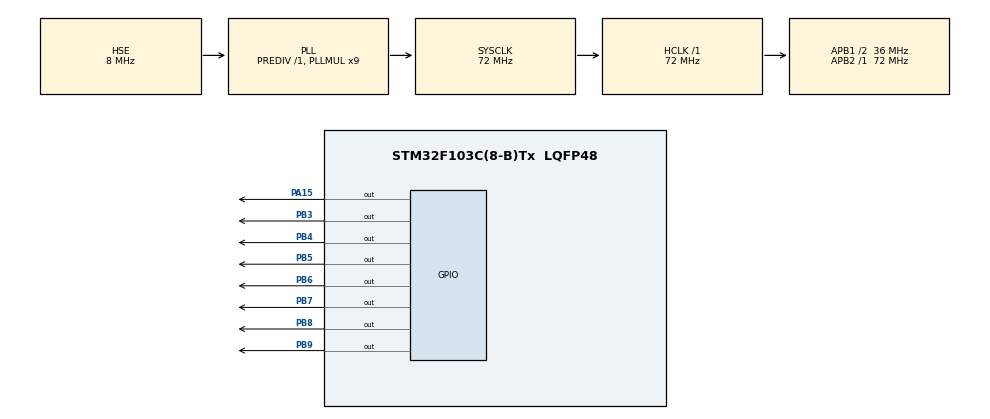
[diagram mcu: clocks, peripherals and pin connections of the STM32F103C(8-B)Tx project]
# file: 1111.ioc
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Mcu.Family=STM32F1
Mcu.Name=STM32F103C(8-B)Tx
Mcu.Package=LQFP48
NVIC.PriorityGroup=NVIC_PRIORITYGROUP_4
PA13.Mode=Serial_Wire
PA13.Signal=SYS_JTMS-SWDIO
PA14.Mode=Serial_Wire
PA14.Signal=SYS_JTCK-SWCLK
PA15.PinState=GPIO_PIN_SET
PA15.Signal=GPIO_Output
PB3.PinState=GPIO_PIN_SET
PB3.Signal=GPIO_Output
PB4.PinState=GPIO_PIN_SET
PB4.Signal=GPIO_Output
PB5.PinState=GPIO_PIN_SET
PB5.Signal=GPIO_Output
PB6.PinState=GPIO_PIN_SET
PB6.Signal=GPIO_Output
PB7.PinState=GPIO_PIN_SET
PB7.Signal=GPIO_Output
PB8.PinState=GPIO_PIN_SET
PB8.Signal=GPIO_Output
PB9.PinState=GPIO_PIN_SET
PB9.Signal=GPIO_Output
PD0-OSC_IN.Mode=HSE-External-Oscillator
PD0-OSC_IN.Signal=RCC_OSC_IN
PD1-OSC_OUT.Mode=HSE-External-Oscillator
PD1-OSC_OUT.Signal=RCC_OSC_OUT
ProjectManager.HeapSize=0x200
ProjectManager.StackSize=0x400
ProjectManager.TargetToolchain=CMake
RCC.AHBFreq_Value=72000000
RCC.APB1CLKDivider=RCC_HCLK_DIV2
RCC.APB1Freq_Value=36000000
RCC.APB1TimFreq_Value=72000000
RCC.APB2Freq_Value=72000000
RCC.APB2TimFreq_Value=72000000
RCC.HCLKFreq_Value=72000000
RCC.PLLMUL=RCC_PLL_MUL9
RCC.PLLSourceVirtual=RCC_PLLSOURCE_HSE
RCC.SYSCLKFreq_VALUE=72000000
RCC.SYSCLKSource=RCC_SYSCLKSOURCE_PLLCLK
RCC.USBFreq_Value=72000000
board=custom

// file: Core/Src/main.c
/* USER CODE BEGIN Header */
/**
  ******************************************************************************
  * @file           : main.c
  * @brief          : Main program body
  ******************************************************************************
  * @attention
  *
  * Copyright (c) 2026 STMicroelectronics.
  * All rights reserved.
  *
  * This software is licensed under terms that can be found in the LICENSE file
  * in the root directory of this software component.
  * If no LICENSE file comes with this software, it is provided AS-IS.
  *
  ******************************************************************************
  */
/* USER CODE END Header */
#include "main.h"
#include "gpio.h"

void SystemClock_Config(void);

int main(void)
{

  /* MCU Configuration--------------------------------------------------------*/

  /* Reset of all peripherals, Initializes the Flash interface and the Systick. */
  HAL_Init();

  /* Configure the system clock */
  SystemClock_Config();

  /* Initialize all configured peripherals */
  MX_GPIO_Init();

  /* Infinite loop */
  while (1)
  {

    /* USER CODE BEGIN 3 */
    HAL_GPIO_TogglePin(GPIOB, GPIO_PIN_3);
    HAL_Delay(100);
    HAL_GPIO_TogglePin(GPIOB, GPIO_PIN_3);
    HAL_GPIO_TogglePin(GPIOB, GPIO_PIN_4);
    HAL_Delay(100);
    HAL_GPIO_TogglePin(GPIOB, GPIO_PIN_4);
    HAL_GPIO_TogglePin(GPIOB, GPIO_PIN_5);
    HAL_Delay(100);
    HAL_GPIO_TogglePin(GPIOB, GPIO_PIN_5);
    HAL_GPIO_TogglePin(GPIOB, GPIO_PIN_6);
    HAL_Delay(100);
    HAL_GPIO_TogglePin(GPIOB, GPIO_PIN_6);
    HAL_GPIO_TogglePin(GPIOB, GPIO_PIN_7);
    HAL_Delay(100);
    HAL_GPIO_TogglePin(GPIOB, GPIO_PIN_7);
    HAL_GPIO_TogglePin(GPIOB, GPIO_PIN_8);
    HAL_Delay(100);
    HAL_GPIO_TogglePin(GPIOB, GPIO_PIN_8);
    HAL_GPIO_TogglePin(GPIOB, GPIO_PIN_9);
    HAL_Delay(100);
    HAL_GPIO_TogglePin(GPIOB, GPIO_PIN_9);

  }
  /* USER CODE END 3 */
}

void SystemClock_Config(void)
{
  RCC_OscInitTypeDef RCC_OscInitStruct = {0};
  RCC_ClkInitTypeDef RCC_ClkInitStruct = {0};

  /** Initializes the RCC Oscillators according to the specified parameters
  * in the RCC_OscInitTypeDef structure.
  */
  RCC_OscInitStruct.OscillatorType = RCC_OSCILLATORTYPE_HSE;
  RCC_OscInitStruct.HSEState = RCC_HSE_ON;
  RCC_OscInitStruct.HSEPredivValue = RCC_HSE_PREDIV_DIV1;
  RCC_OscInitStruct.HSIState = RCC_HSI_ON;
  RCC_OscInitStruct.PLL.PLLState = RCC_PLL_ON;
  RCC_OscInitStruct.PLL.PLLSource = RCC_PLLSOURCE_HSE;
  RCC_OscInitStruct.PLL.PLLMUL = RCC_PLL_MUL9;
  if (HAL_RCC_OscConfig(&RCC_OscInitStruct) != HAL_OK)
  {
    Error_Handler();
  }

  /** Initializes the CPU, AHB and APB buses clocks
  */
  RCC_ClkInitStruct.ClockType = RCC_CLOCKTYPE_HCLK|RCC_CLOCKTYPE_SYSCLK
                              |RCC_CLOCKTYPE_PCLK1|RCC_CLOCKTYPE_PCLK2;
  RCC_ClkInitStruct.SYSCLKSource = RCC_SYSCLKSOURCE_PLLCLK;
  RCC_ClkInitStruct.AHBCLKDivider = RCC_SYSCLK_DIV1;
  RCC_ClkInitStruct.APB1CLKDivider = RCC_HCLK_DIV2;
  RCC_ClkInitStruct.APB2CLKDivider = RCC_HCLK_DIV1;

  if (HAL_RCC_ClockConfig(&RCC_ClkInitStruct, FLASH_LATENCY_2) != HAL_OK)
  {
    Error_Handler();
  }
}

void Error_Handler(void)
{
  __disable_irq();
  while (1)
  {
  }
}
